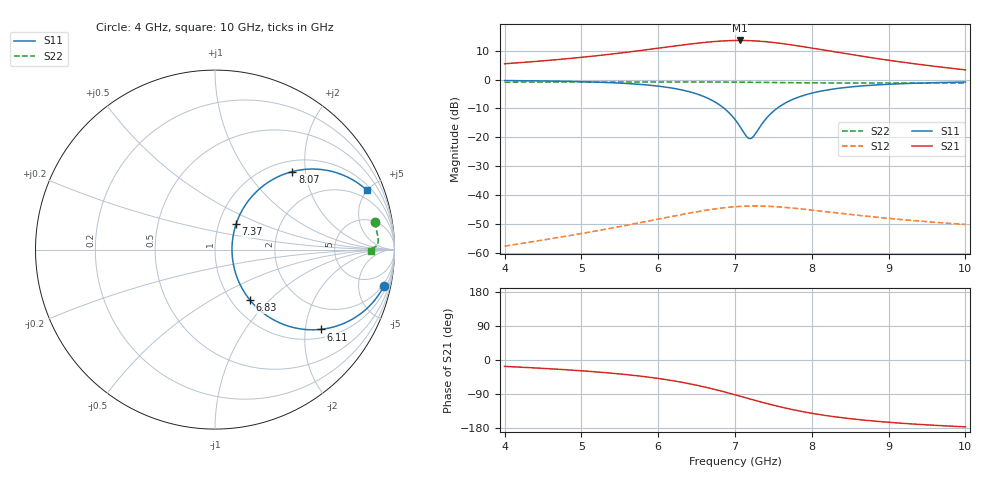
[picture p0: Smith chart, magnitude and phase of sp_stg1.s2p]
! Touchstone Ver. 1.0
! Number of ports is 2
# Hz	S	RI	R	50.000000
! SCATTERING PARAMETERS  :
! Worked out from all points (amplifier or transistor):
!   601 points, 4 GHz to 10 GHz, reference 50 ohm
!   highest |S21| = 13.6 dB at 7.06 GHz (marker M1)
!   |S21| within 3 dB of that: 5.913 GHz to 8.082 GHz (2.169 GHz wide, 31 % of centre)
!   unconditionally stable (mu >= 1): start of sweep to end of sweep
!   at 5 GHz: K = 2.80, MAG = 23.2 dB, |S12| = -53.4 dB
!   at 7 GHz: K = 3.17, MAG = 20.9 dB, |S12| = -44.1 dB
!   at 10 GHz: K = 4.14, MAG = 17.7 dB, |S12| = -50.3 dB
!   S11 on the Smith chart (normalised r, x): 4 GHz: 1.64, -9.14; 6.11 GHz: 1.24, -2.42; 6.83 GHz: 1.21, -0.77; 7.37 GHz: 1.21, +0.35; 8.07 GHz: 1.22, +1.70; 10 GHz: 1.31, +4.94
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4e9  0.9417 -0.202  1.804 -0.5461  0.000231 -0.00127  0.891 0.1527
5e9  0.8671 -0.3076  2.141 -1.159  0.000192 -0.00212  0.8996 0.1091
5.54e9  0.7756 -0.3814  2.318 -1.785  -3.21e-05 -0.00288  0.9041 0.0891
6e9  0.6343 -0.4373  2.314 -2.633  -0.000588 -0.00375  0.9078 0.0716
6.11e9  0.588 -0.4446  2.257 -2.889  -0.000813 -0.00397  0.9086 0.0671
6.31e9  0.4896 -0.4437  2.054 -3.402  -0.00135 -0.00436  0.9096 0.0585
6.49e9  0.3877 -0.4192  1.724 -3.887  -0.00201 -0.00464  0.9097 0.0502
6.66e9  0.2867 -0.3666  1.249 -4.315  -0.00277 -0.00477  0.9089 0.0421
6.83e9  0.1935 -0.2797  0.6103 -4.636  -0.00363 -0.00468  0.9066 0.0339
7e9  0.1247 -0.1603  -0.1505 -4.769  -0.00448 -0.00432  0.903 0.0264
7.06e9  0.1093 -0.1125  -0.4319 -4.759  -0.00476 -0.00413  0.9014 0.024
7.2e9  0.0947 0.00425  -1.074 -4.614  -0.00532 -0.00356  0.8972 0.0193
7.37e9  0.1173 0.1416  -1.755 -4.236  -0.00576 -0.00273  0.8918 0.015
7.52e9  0.1673 0.2456  -2.208 -3.779  -0.00593 -0.00198  0.8874 0.0126
7.67e9  0.2348 0.3264  -2.508 -3.275  -0.0059 -0.00127  0.8835 0.0112
7.83e9  0.3146 0.3866  -2.677 -2.746  -0.00573 -0.000624  0.8802 0.0103
8e9  0.3983 0.4251  -2.726 -2.237  -0.00545 -7.79e-05  0.8776 0.00959
8.07e9  0.431 0.4348  -2.718 -2.049  -0.00532 0.000107  0.8767 0.00934
8.5e9  0.5969 0.4456  -2.478 -1.165  -0.0045 0.000841  0.8735 0.00736
9e9  0.7208 0.412  -2.087 -0.5842  -0.00373 0.00117  0.872 0.00357
9.45e9  0.7904 0.3742  -1.776 -0.2938  -0.00323 0.00126  0.8711 -0.000888
1e10  0.8444 0.332  -1.473 -0.0919  -0.0028 0.00126  0.8701 -0.00712
